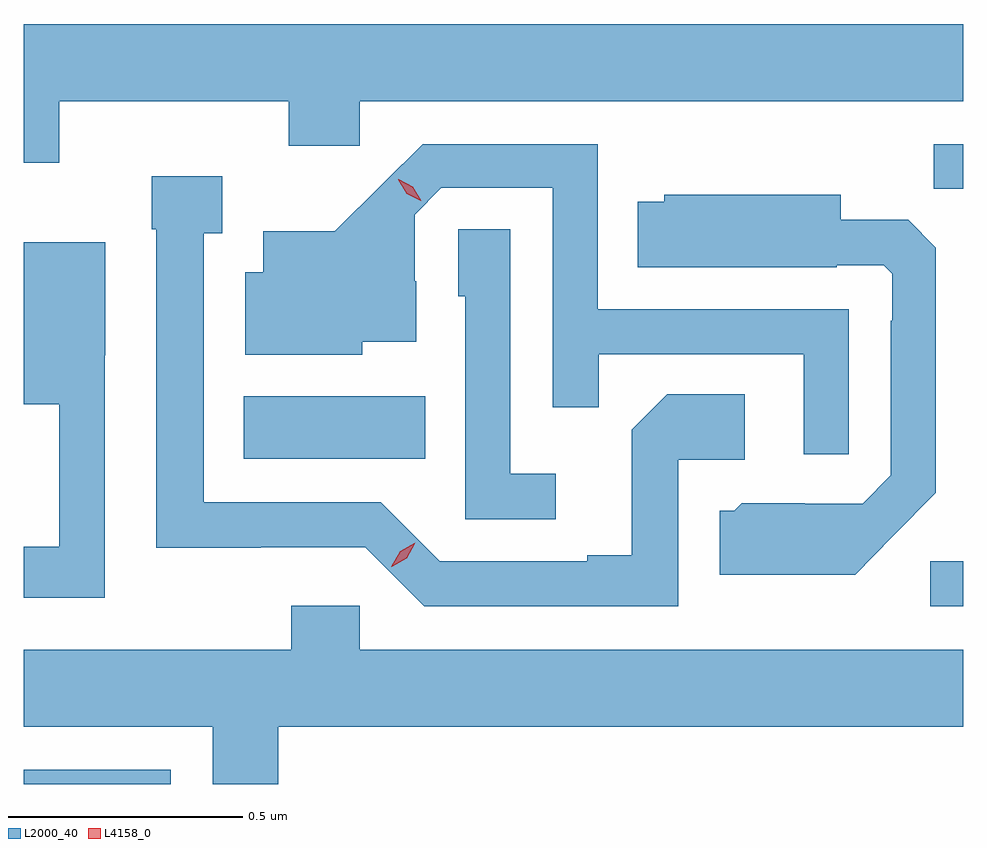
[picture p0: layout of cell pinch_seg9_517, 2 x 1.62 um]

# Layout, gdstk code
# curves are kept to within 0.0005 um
import gdstk
lib = gdstk.Library(unit=1e-6, precision=1e-09)
def R(c, l, rs):  # rectangles x0, y0, x1, y1
    for r in rs: c.add(gdstk.rectangle(r[:2], r[2:], *l))
def P(c, l, *ps):  # polygons
    for p in ps: c.add(gdstk.Polygon(p, *l))
L2000_40 = (2000, 40)
L4158_0 = (4158, 0)

pinch_seg9_517 = lib.new_cell('pinch_seg9_517')
R(pinch_seg9_517, L2000_40, [(287.417,1202.958,287.73,1202.988), (289.347,1203.336,289.417,1203.432), (287.885,1203.65,288.272,1203.784), (289.354,1204.225,289.417,1204.32)])
P(pinch_seg9_517, L2000_40, [(287.492,1204.412),(287.981,1204.412),(287.981,1204.317),(288.132,1204.317),(288.132,1204.412),(289.417,1204.412),(289.417,1204.576),(287.417,1204.576),(287.417,1204.281),(287.492,1204.281)],
  [(289.173,1203.969),(288.639,1203.969),(288.639,1204.32),(288.266,1204.32),(288.079,1204.135),(287.927,1204.135),(287.927,1204.048),(287.888,1204.048),(287.888,1203.872),(288.138,1203.872),(288.138,1203.899),(288.253,1203.899),(288.253,1204.028),(288.249,1204.028),(288.249,1204.17),(288.306,1204.227),(288.543,1204.227),(288.543,1203.76),(288.641,1203.76),(288.641,1203.873),(289.077,1203.873),(289.077,1203.66),(289.173,1203.66)],
  [(288.81,1203.648),(288.952,1203.648),(288.952,1203.788),(288.787,1203.788),(288.711,1203.712),(288.711,1203.445),(288.617,1203.445),(288.617,1203.432),(288.303,1203.432),(288.177,1203.558),(287.8,1203.558),(287.8,1204.131),(287.839,1204.131),(287.839,1204.252),(287.689,1204.252),(287.689,1204.139),(287.699,1204.139),(287.699,1203.461),(287.922,1203.461),(287.922,1203.462),(288.144,1203.462),(288.27,1203.336),(288.81,1203.336)],
  [(289.267,1203.485),(289.359,1203.578),(289.359,1204.1),(289.3,1204.159),(289.156,1204.159),(289.156,1204.213),(288.78,1204.213),(288.78,1204.198),(288.724,1204.198),(288.724,1204.058),(289.148,1204.058),(289.148,1204.062),(289.248,1204.062),(289.266,1204.044),(289.266,1203.944),(289.263,1203.944),(289.263,1203.615),(289.203,1203.555),(289.08,1203.555),(289.08,1203.556),(288.946,1203.556),(288.93,1203.54),(288.899,1203.54),(288.899,1203.404),(289.187,1203.404)],
  [(288.55,1203.619),(288.453,1203.619),(288.453,1204.139),(288.342,1204.139),(288.342,1203.996),(288.357,1203.996),(288.357,1203.522),(288.55,1203.522)],
  [(287.589,1203.871),(287.59,1203.871),(287.59,1204.111),(287.417,1204.111),(287.417,1203.767),(287.492,1203.767),(287.492,1203.463),(287.417,1203.463),(287.417,1203.354),(287.589,1203.354)],
  [(287.959,1203.08),(289.417,1203.08),(289.417,1203.244),(288.132,1203.244),(288.132,1203.337),(287.986,1203.337),(287.986,1203.244),(287.417,1203.244),(287.417,1203.08),(287.819,1203.08),(287.819,1202.958),(287.959,1202.958)])
P(pinch_seg9_517, L4158_0, [(288.262,1204.2),(288.232,1204.215),(288.214,1204.244),(288.214,1204.245),(288.215,1204.245),(288.245,1204.23),(288.263,1204.2),(288.263,1204.2)],
  [(288.199,1203.421),(288.199,1203.421),(288.218,1203.454),(288.25,1203.472),(288.25,1203.472),(288.25,1203.472),(288.232,1203.439),(288.2,1203.421)])

lib.write_gds('pinch_seg9_517.gds')
